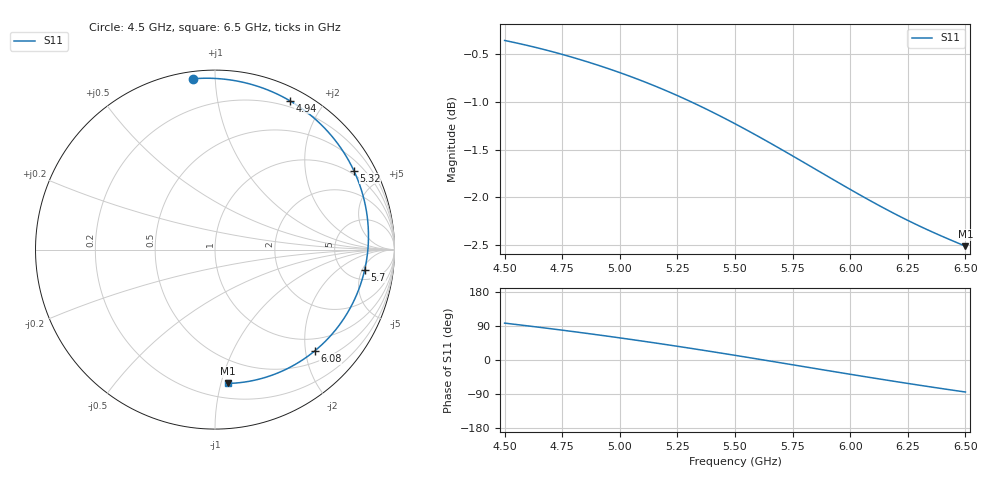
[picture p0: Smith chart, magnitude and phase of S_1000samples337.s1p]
! TOUCHSTONE file generated by CST MICROWAVE STUDIO
! Date and time: Thu Oct 27 19:59:59 2022
! Project name: L.cst
! Parameters = {Di=1.27; Epsilon_r=1.56; InnerDiameter=1.27; Length=2; Lf=10; Lg=60; OuterConductorThickness=0.2921; OuterDiameter=3.6; Wf=3; Wp=41.2; de=1.5; df=6.8; g=0.8; gx=3.61672; gy=4.88851; h=2.34; hf=1.524; px=11.5556; py=11.7671; w=9.7; wx=7.93887; wy=6.87863}
! Header version: 2018
! Port assignment regex: !\s*Touchstone port\s*([0-9]+)\s*=\s*(CST MWS port|CST DS port)\s*([0-9]+|Zmin|Zmax)\s*\(\"(.*)\"\)(\s*mode\s*([0-9]+))?.*
! Touchstone port assignment:
! Touchstone port 1 = CST MWS port 1 ("")
# GHz S DB R 50
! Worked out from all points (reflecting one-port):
!   101 points, 4.5 GHz to 6.5 GHz, reference 50 ohm
!   lowest |S11| = -2.5 dB at 6.5 GHz (marker M1), VSWR 6.97, Z = 15.5 - j52.6 ohm
!   phase of S11 starts at 97 deg and turns -182 deg over the sweep
!   S11 on the Smith chart (normalised r, x): 4.5 GHz: 0.04, +0.88; 4.94 GHz: 0.13, +1.61; 5.32 GHz: 0.85, +3.59; 5.7 GHz: 7.33, -5.58; 6.08 GHz: 0.72, -2.18; 6.5 GHz: 0.31, -1.05
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4.5  -0.36 97.3
4.58  -0.40 91.5
4.64  -0.43 87.1
4.76  -0.51 77.9
4.86  -0.58 70.0
4.94  -0.65 63.4
5  -0.70 58.4
5.06  -0.75 53.2
5.12  -0.80 48.0
5.2  -0.88 40.8
5.26  -0.95 35.3
5.32  -1.01 29.6
5.42  -1.13 20.1
5.5  -1.23 12.3
5.6  -1.36 2.4
5.7  -1.50 -7.6
5.76  -1.58 -13.6
5.82  -1.66 -19.7
5.88  -1.75 -25.7
5.94  -1.83 -31.7
6  -1.92 -37.7
6.08  -2.02 -45.5
6.16  -2.13 -53.3
6.26  -2.25 -62.8
6.32  -2.32 -68.3
6.38  -2.39 -73.8
6.44  -2.45 -79.2
6.5  -2.51 -84.5
